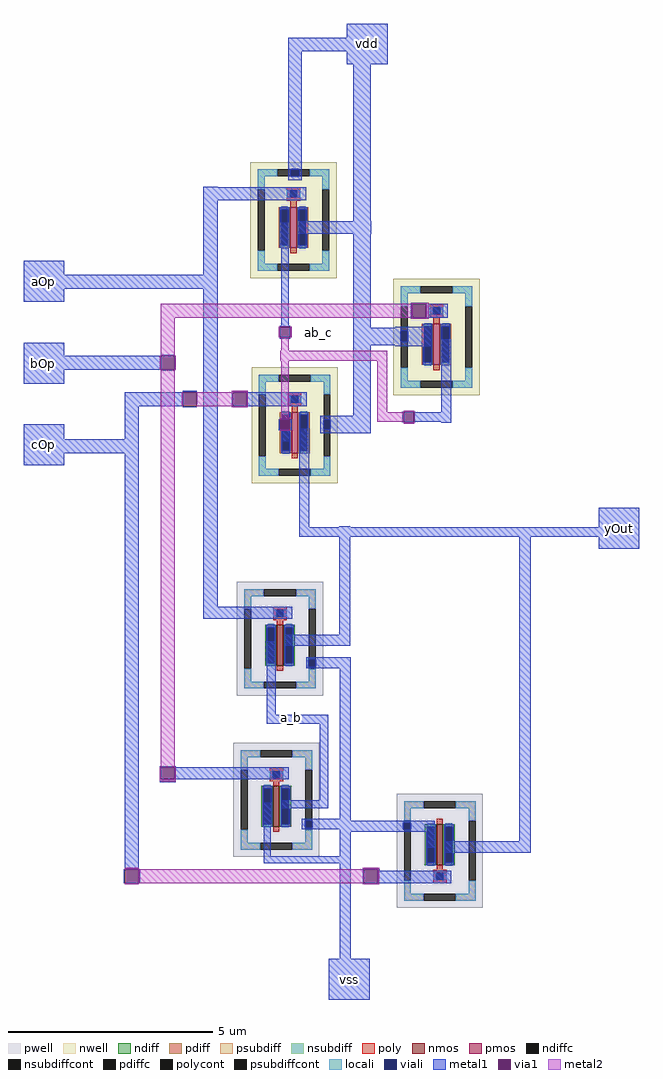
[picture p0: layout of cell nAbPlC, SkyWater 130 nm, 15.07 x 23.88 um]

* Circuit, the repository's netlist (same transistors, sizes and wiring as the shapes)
** sch_path: /home/ttuser/nAbPlC/nAbPlC.sch
.subckt nAbPlC aOp bOp cOp vdd yOut vss
*.PININFO aOp:I bOp:I cOp:I vdd:I vss:I yOut:O
XM1 ab_c aOp vdd sky130_fd_pr__pfet_01v8 L=0.15 W=1 nf=1 m=1
XM2 ab_c bOp vdd sky130_fd_pr__pfet_01v8 L=0.15 W=1 nf=1 m=1
XM3 yOut cOp ab_c sky130_fd_pr__pfet_01v8 L=0.15 W=1 nf=1 m=1
XM4 yOut aOp a_b sky130_fd_pr__nfet_01v8 L=0.15 W=1 nf=1 m=1
XM5 a_b bOp vss sky130_fd_pr__nfet_01v8 L=0.15 W=1 nf=1 m=1
XM6 yOut cOp vss sky130_fd_pr__nfet_01v8 L=0.15 W=1 nf=1 m=1
.ends
.end

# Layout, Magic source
magic
tech sky130A
magscale 1 2
<< locali >>
rect 1392 -1748 1424 -1740
rect 1392 -1786 1396 -1748
rect 1392 -1790 1424 -1786
rect 1860 -2550 1896 -2544
<< viali >>
rect 1308 614 1350 648
rect 1846 -196 1880 -142
rect 1468 -624 1502 -576
rect 1396 -1786 1430 -1748
rect 1378 -2574 1412 -2540
rect 1858 -2584 1896 -2550
<< metal1 >>
rect 1582 1292 1782 1362
rect 1296 1226 1782 1292
rect 1296 648 1362 1226
rect 1582 1162 1782 1226
rect 1296 614 1308 648
rect 1350 614 1362 648
rect 1296 596 1362 614
rect 880 561 950 562
rect 880 496 1383 561
rect 0 133 200 200
rect 880 133 950 496
rect 1614 394 1700 1162
rect 0 63 950 133
rect 0 0 200 63
rect 0 -264 200 -200
rect 672 -264 740 -258
rect 0 -332 672 -264
rect 0 -400 200 -332
rect 672 -338 740 -332
rect 780 -442 848 -436
rect 496 -510 780 -442
rect 0 -672 200 -600
rect 496 -672 564 -510
rect 780 -516 848 -510
rect 0 -740 564 -672
rect 0 -800 200 -740
rect 496 -2776 564 -740
rect 880 -1493 950 63
rect 1262 -116 1298 388
rect 1348 334 1702 394
rect 1254 -122 1306 -116
rect 1254 -180 1306 -174
rect 1614 -127 1700 334
rect 1896 -10 1982 -4
rect 1896 -78 1902 -10
rect 1970 -78 2076 -10
rect 1818 -127 1998 -122
rect 1614 -142 1998 -127
rect 1614 -196 1846 -142
rect 1880 -196 1998 -142
rect 1614 -213 1998 -196
rect 1018 -442 1098 -436
rect 1018 -510 1024 -442
rect 1092 -510 1386 -442
rect 1018 -516 1098 -510
rect 1614 -558 1700 -213
rect 1818 -218 1998 -213
rect 1248 -626 1254 -574
rect 1306 -626 1312 -574
rect 1451 -576 1700 -558
rect 1248 -628 1312 -626
rect 1262 -682 1298 -628
rect 1350 -1102 1398 -622
rect 1451 -624 1468 -576
rect 1502 -624 1700 -576
rect 1854 -590 1860 -538
rect 1912 -540 1918 -538
rect 2044 -540 2092 -182
rect 1912 -588 2092 -540
rect 1912 -590 1918 -588
rect 2044 -592 2092 -588
rect 1451 -644 1700 -624
rect 1546 -1102 1598 -1098
rect 2814 -1102 3014 -1008
rect 1350 -1104 2032 -1102
rect 2126 -1104 3014 -1102
rect 1350 -1150 3014 -1104
rect 880 -1552 1315 -1493
rect 1546 -1630 1598 -1150
rect 1190 -2020 1234 -1660
rect 1284 -1682 1598 -1630
rect 1548 -1740 1600 -1738
rect 1384 -1748 1600 -1740
rect 1384 -1786 1396 -1748
rect 1430 -1786 1600 -1748
rect 1384 -1792 1600 -1786
rect 1190 -2064 1492 -2020
rect 666 -2278 746 -2272
rect 666 -2336 672 -2278
rect 740 -2336 1298 -2278
rect 666 -2352 746 -2336
rect 1450 -2440 1490 -2064
rect 1176 -2713 1210 -2452
rect 1264 -2478 1490 -2440
rect 1548 -2530 1600 -1792
rect 1362 -2540 1600 -2530
rect 1362 -2574 1378 -2540
rect 1412 -2550 2012 -2540
rect 1412 -2574 1858 -2550
rect 1362 -2582 1858 -2574
rect 1548 -2584 1858 -2582
rect 1896 -2584 2012 -2550
rect 1548 -2592 2012 -2584
rect 1548 -2713 1600 -2592
rect 1854 -2594 2012 -2592
rect 1970 -2672 2008 -2594
rect 2426 -2640 2482 -1150
rect 2814 -1208 3014 -1150
rect 2062 -2696 2482 -2640
rect 1176 -2747 1600 -2713
rect 1176 -2748 1210 -2747
rect 490 -2844 496 -2776
rect 564 -2844 570 -2776
rect 1548 -3214 1600 -2747
rect 1660 -2776 1740 -2770
rect 1660 -2844 1666 -2776
rect 1734 -2784 1742 -2776
rect 1734 -2844 2092 -2784
rect 1660 -2850 1740 -2844
rect 1494 -3414 1694 -3214
<< via1 >>
rect 672 -332 740 -264
rect 780 -510 848 -442
rect 1254 -174 1306 -122
rect 1902 -78 1970 -10
rect 1024 -510 1092 -442
rect 1254 -626 1306 -574
rect 1860 -590 1912 -538
rect 672 -2336 740 -2278
rect 496 -2844 564 -2776
rect 1666 -2844 1734 -2776
<< metal2 >>
rect 1896 -10 1982 -4
rect 672 -78 1902 -10
rect 1970 -78 1982 -10
rect 672 -264 740 -78
rect 1896 -84 1982 -78
rect 1248 -174 1254 -122
rect 1306 -174 1312 -122
rect 1262 -240 1298 -174
rect 666 -332 672 -264
rect 740 -332 746 -264
rect 1256 -288 1780 -240
rect 672 -2278 740 -332
rect 1018 -442 1098 -436
rect 774 -510 780 -442
rect 848 -510 1024 -442
rect 1092 -510 1098 -442
rect 1018 -516 1098 -510
rect 1262 -568 1298 -288
rect 1732 -540 1780 -288
rect 1860 -538 1912 -532
rect 1254 -574 1306 -568
rect 1732 -588 1860 -540
rect 1860 -596 1912 -590
rect 1254 -632 1306 -626
rect 666 -2336 672 -2278
rect 740 -2336 746 -2278
rect 666 -2346 746 -2336
rect 496 -2776 564 -2770
rect 1660 -2776 1740 -2770
rect 564 -2844 1666 -2776
rect 1734 -2844 1740 -2776
rect 496 -2850 564 -2844
rect 1660 -2850 1740 -2844
use sky130_fd_pr__nfet_01v8_64QSBY  sky130_fd_pr__nfet_01v8_64QSBY_0
transform 1 0 2037 0 1 -2687
box -211 -279 211 279
use sky130_fd_pr__pfet_01v8_MGS3BN  sky130_fd_pr__pfet_01v8_MGS3BN_0
transform 1 0 1327 0 1 -604
box -211 -284 211 284
use sky130_fd_pr__pfet_01v8_MGS3BN  XM7
transform 1 0 1321 0 1 400
box -211 -284 211 284
use sky130_fd_pr__pfet_01v8_MGS3BN  XM8
transform 1 0 2021 0 1 -172
box -211 -284 211 284
use sky130_fd_pr__nfet_01v8_64Z3AY  XM10
transform 1 0 1255 0 1 -1649
box -211 -279 211 279
use sky130_fd_pr__nfet_01v8_64Z3AY  XM11
transform 1 0 1237 0 1 -2437
box -211 -279 211 279
<< labels >>
flabel metal1 0 0 200 200 0 FreeSans 256 0 0 0 aOp
port 0 nsew
flabel metal1 0 -400 200 -200 0 FreeSans 256 0 0 0 bOp
port 1 nsew
flabel metal1 0 -800 200 -600 0 FreeSans 256 0 0 0 cOp
port 2 nsew
flabel metal1 2814 -1208 3014 -1008 0 FreeSans 256 0 0 0 yOut
port 4 nsew
flabel metal1 1582 1162 1782 1362 0 FreeSans 256 0 0 0 vdd
port 3 nsew
flabel metal1 1494 -3414 1694 -3214 0 FreeSans 256 0 0 0 vss
port 5 nsew
flabel space 1282 -258 1604 -38 0 FreeSans 1600 0 0 0 ab_c
flabel space 1110 -2108 1516 -1960 0 FreeSans 1600 0 0 0 a_b
<< end >>

# cell sky130_fd_pr__nfet_01v8_64QSBY: kit device sky130_fd_pr__nfet_01v8, w 1.0 l 0.15 m 1 nf 1 diffcov 100 polycov 100 guard 1 glc 1 grc 1 gtc 1 gbc 1 tbcov 100 rlcov 100 topc 0 botc 1 poverlap 0 doverlap 1 lmin 0.15 wmin 0.42 compatible {sky130_fd_pr__nfet_01v8 sky130_fd_pr__nfet_01v8_lvt sky130_fd_bs_flash__special_sonosfet_star sky130_fd_pr__nfet_g5v0d10v5 sky130_fd_pr__nfet_05v0_nvt sky130_fd_pr__nfet_03v3_nvt} full_metal 1 viasrc 100 viadrn 100 viagate 100 viagb 0 viagr 0 viagl 0 viagt 0

# cell sky130_fd_pr__pfet_01v8_MGS3BN: kit device sky130_fd_pr__pfet_01v8, w 1.0 l 0.15 m 1 nf 1 diffcov 100 polycov 100 guard 1 glc 1 grc 1 gtc 1 gbc 1 tbcov 100 rlcov 100 topc 1 botc 0 poverlap 0 doverlap 1 lmin 0.15 wmin 0.42 compatible {sky130_fd_pr__pfet_01v8 sky130_fd_pr__pfet_01v8_lvt sky130_fd_pr__pfet_01v8_hvt sky130_fd_pr__pfet_g5v0d10v5} full_metal 1 viasrc 100 viadrn 100 viagate 100 viagb 0 viagr 0 viagl 0 viagt 0

# cell sky130_fd_pr__nfet_01v8_64Z3AY: kit device sky130_fd_pr__nfet_01v8, w 1.0 l 0.15 m 1 nf 1 diffcov 100 polycov 100 guard 1 glc 1 grc 1 gtc 1 gbc 1 tbcov 100 rlcov 100 topc 1 botc 0 poverlap 0 doverlap 1 lmin 0.15 wmin 0.42 compatible {sky130_fd_pr__nfet_01v8 sky130_fd_pr__nfet_01v8_lvt sky130_fd_bs_flash__special_sonosfet_star sky130_fd_pr__nfet_g5v0d10v5 sky130_fd_pr__nfet_05v0_nvt sky130_fd_pr__nfet_03v3_nvt} full_metal 1 viasrc 100 viadrn 100 viagate 100 viagb 0 viagr 0 viagl 0 viagt 0
